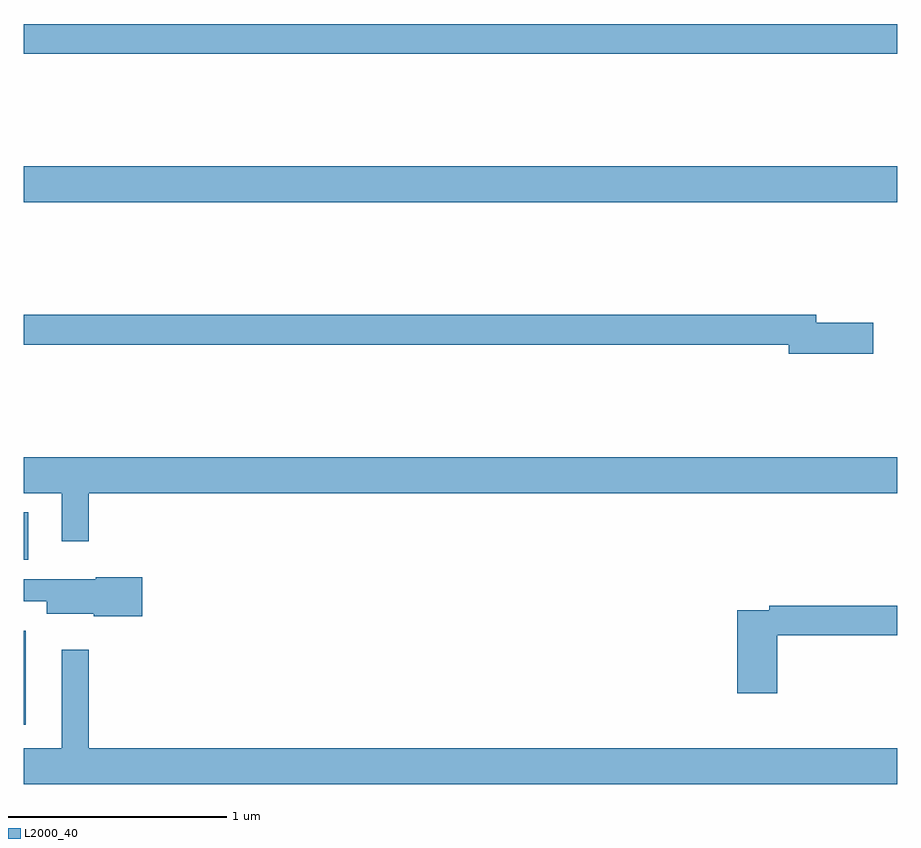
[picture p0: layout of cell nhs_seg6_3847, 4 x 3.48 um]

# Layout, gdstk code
import gdstk
lib = gdstk.Library(unit=1e-6, precision=1e-09)
def R(c, l, rs):  # rectangles x0, y0, x1, y1
    for r in rs: c.add(gdstk.rectangle(r[:2], r[2:], *l))
def P(c, l, *ps):  # polygons
    for p in ps: c.add(gdstk.Polygon(p, *l))
L2000_40 = (2000, 40)

nhs_seg6_3847 = lib.new_cell('nhs_seg6_3847')
R(nhs_seg6_3847, L2000_40, [(337,986.235,337.009,986.665), (337,986.991,337.021,987.208), (337,988.628,341,988.792), (337,989.308,341,989.444)])
P(nhs_seg6_3847, L2000_40, [(340.891,988.076),(340.63,988.076),(340.63,988.112),(337,988.112),(337,987.976),(340.502,987.976),(340.502,987.934),(340.891,987.934)],
  [(337.297,987.296),(341,987.296),(341,987.46),(337,987.46),(337,987.296),(337.175,987.296),(337.175,987.075),(337.297,987.075)],
  [(337.543,986.91),(337.33,986.91),(337.33,986.902),(337,986.902),(337,986.801),(337.106,986.801),(337.106,986.744),(337.32,986.744),(337.32,986.732),(337.543,986.732)],
  [(340.451,986.644),(341,986.644),(341,986.78),(340.414,986.78),(340.414,986.76),(340.268,986.76),(340.268,986.379),(340.451,986.379)],
  [(341,986.128),(337.297,986.128),(337.297,986.578),(337.175,986.578),(337.175,986.128),(337,986.128),(337,985.964),(341,985.964)])

lib.write_gds('nhs_seg6_3847.gds')
